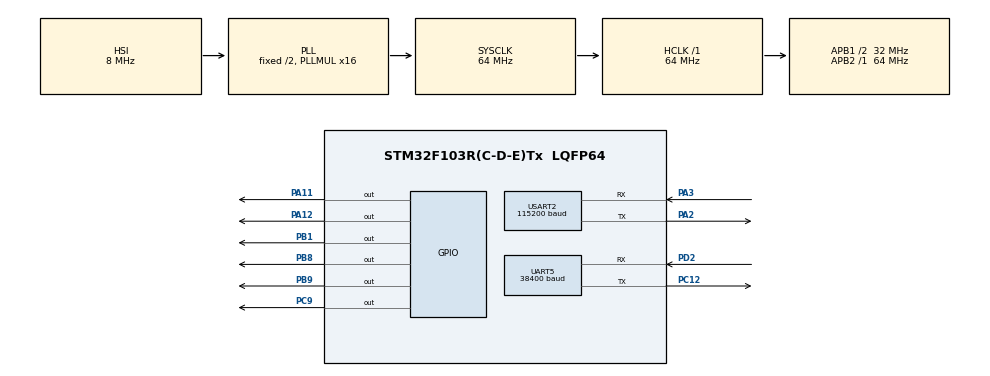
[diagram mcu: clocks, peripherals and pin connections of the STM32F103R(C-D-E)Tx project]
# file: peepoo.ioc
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Dma.Request0=USART2_RX
Dma.USART2_RX.0.Direction=DMA_PERIPH_TO_MEMORY
Dma.USART2_RX.0.Instance=DMA1_Channel6
Dma.USART2_RX.0.MemDataAlignment=DMA_MDATAALIGN_BYTE
Dma.USART2_RX.0.MemInc=DMA_MINC_ENABLE
Dma.USART2_RX.0.Mode=DMA_NORMAL
Dma.USART2_RX.0.PeriphDataAlignment=DMA_PDATAALIGN_BYTE
Dma.USART2_RX.0.PeriphInc=DMA_PINC_DISABLE
Dma.USART2_RX.0.Priority=DMA_PRIORITY_LOW
Mcu.Family=STM32F1
Mcu.Name=STM32F103R(C-D-E)Tx
Mcu.Package=LQFP64
NVIC.DMA1_Channel6_IRQn=true\:12\:0\:true\:false\:true\:false\:true\:true
NVIC.PriorityGroup=NVIC_PRIORITYGROUP_4
NVIC.TIM2_IRQn=true\:14\:0\:true\:false\:true\:true\:true\:true
NVIC.TIM3_IRQn=true\:15\:0\:true\:false\:true\:false\:true\:true
NVIC.TimeBase=TIM3_IRQn
NVIC.TimeBaseIP=TIM3
NVIC.UART5_IRQn=true\:0\:0\:true\:false\:true\:true\:true\:true
NVIC.USART2_IRQn=true\:3\:0\:true\:false\:true\:true\:true\:true
PA10.Signal=USART1_RX
PA11.GPIO_Speed=GPIO_SPEED_FREQ_LOW
PA11.Signal=GPIO_Output
PA12.GPIO_Speed=GPIO_SPEED_FREQ_LOW
PA12.Signal=GPIO_Output
PA13.Mode=Serial_Wire
PA13.Signal=SYS_JTMS-SWDIO
PA14.Mode=Serial_Wire
PA14.Signal=SYS_JTCK-SWCLK
PA2.Mode=Asynchronous
PA2.Signal=USART2_TX
PA3.Mode=Asynchronous
PA3.Signal=USART2_RX
PB1.GPIO_Speed=GPIO_SPEED_FREQ_LOW
PB1.Signal=GPIO_Output
PB8.Signal=GPIO_Output
PB9.PinState=GPIO_PIN_RESET
PB9.Signal=GPIO_Output
PC12.Mode=Asynchronous
PC12.Signal=UART5_TX
PC9.GPIO_Speed=GPIO_SPEED_FREQ_LOW
PC9.Signal=GPIO_Output
PD2.Mode=Asynchronous
PD2.Signal=UART5_RX
ProjectManager.HeapSize=0x200
ProjectManager.StackSize=0x400
ProjectManager.TargetToolchain=MDK-ARM V5.32
RCC.AHBFreq_Value=64000000
RCC.APB1CLKDivider=RCC_HCLK_DIV2
RCC.APB1Freq_Value=32000000
RCC.APB1TimFreq_Value=64000000
RCC.APB2Freq_Value=64000000
RCC.APB2TimFreq_Value=64000000
RCC.HCLKFreq_Value=64000000
RCC.PLLMUL=RCC_PLL_MUL16
RCC.SYSCLKFreq_VALUE=64000000
RCC.SYSCLKSource=RCC_SYSCLKSOURCE_PLLCLK
RCC.USBFreq_Value=64000000
RTC.Format=RTC_FORMAT_BIN
TIM1.Prescaler=63
TIM2.AutoReloadPreload=TIM_AUTORELOAD_PRELOAD_ENABLE
TIM2.Period=3333
TIM2.Prescaler=6399
TIM2.TIM_MasterOutputTrigger=TIM_TRGO_RESET
TIM2.TIM_MasterSlaveMode=TIM_MASTERSLAVEMODE_DISABLE
UART5.BaudRate=38400
UART5.VirtualMode=Asynchronous
USART2.BaudRate=115200
USART2.VirtualMode=VM_ASYNC
VP_RTC_VS_RTC_Activate.Mode=RTC_Enabled
VP_RTC_VS_RTC_Calendar.Mode=RTC_Calendar
VP_SYS_VS_tim3.Mode=TIM3
VP_TIM1_VS_ClockSourceINT.Mode=Internal
VP_TIM2_VS_ClockSourceINT.Mode=Internal
board=custom

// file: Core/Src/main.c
/* USER CODE BEGIN Header */
/**
  ******************************************************************************
  * @file           : main.c
  * @brief          : Main program body
  ******************************************************************************
  * @attention
  *
  * Copyright (c) 2023 STMicroelectronics.
  * All rights reserved.
  *
  * This software is licensed under terms that can be found in the LICENSE file
  * in the root directory of this software component.
  * If no LICENSE file comes with this software, it is provided AS-IS.
  *
  ******************************************************************************
  */
/* USER CODE END Header */
#include "main.h"
#include "dma.h"
#include "rtc.h"
#include "tim.h"
#include "usart.h"
#include "gpio.h"

/* USER CODE BEGIN Includes */
//#include "utils.h"
#include "lcd12864serial.h"
#include <stdio.h>
//#include <regex.h>
#include "stdlib.h"
#include "string.h"
#include "drf1605h.h"
#include "sender.h"
/* USER CODE END Includes */

/* USER CODE BEGIN PTD */
extern u32 tim2_count;
extern DMA_HandleTypeDef hdma_usart2_rx;
/* USER CODE END PTD */

void SystemClock_Config(void);

/* USER CODE BEGIN 0 */

u8 currentdevice_index = 0;
/* USER CODE END 0 */

int main(void)
{

  /* MCU Configuration--------------------------------------------------------*/

  /* Reset of all peripherals, Initializes the Flash interface and the Systick. */
  HAL_Init();

  /* Configure the system clock */
  SystemClock_Config();

  /* Initialize all configured peripherals */
  MX_GPIO_Init();
  MX_DMA_Init();
  MX_USART2_UART_Init();
  MX_RTC_Init();
  MX_TIM1_Init();
  MX_UART5_Init();
  MX_TIM2_Init();
  /* USER CODE BEGIN 2 */

  u8 i = 0;
  for(i=0; i<TOTAL_DEVICE; i++)
  {
    ZigbeeDevice d = {.id = i + 1,.addr = 0xFFFF,.is_online = false,.ask_time = 0,.last_response_time= 0 };
    devices[i] = d;
  }

  HAL_TIM_Base_Start(&htim1);
  //HAL_TIM_Base_Start(&htim2);
  HAL_TIM_Base_Start_IT(&htim2);
  Lcd_Init();
  //HAL_UART_Transmit(&huart2,"hello",5,0xFFFF);
  HAL_UARTEx_ReceiveToIdle_DMA(&huart2, RxBuf, RxBuf_SIZE);
  __HAL_DMA_DISABLE_IT(&hdma_usart2_rx, DMA_IT_HT);

  /* USER CODE END 2 */

  /* Infinite loop */
  /* USER CODE BEGIN WHILE */
  bool is_ok = check_connection_ok();
  if (is_ok)
  {
    //led_signal();
    LCD_Display_Words(0,0,(uint8_t*)"okok");
  }
  else {
    LCD_Display_Words(0,0,(uint8_t*)"sad");
    Error_Handler();
  }
  HAL_UARTEx_ReceiveToIdle_IT(&huart5,rxbuffer_uart5,RxBuf_SIZE_uart5);
  uint8_t current_time[10];
  u32 last_tim2_count_to_refresh = tim2_count;
  u32 last_tim2_count_to_send_zigbee = tim2_count;
  while (1)
  {
    if (uart_idle_data_prepared)
    {
      uart_idle_data_prepared = false;
      int len = strlen((char *)(MainBuf + oldPos));
      parse_command((uint8_t *)(MainBuf + oldPos),len);
    }
    if (tim2_count - last_tim2_count_to_refresh > 20)
    {
      Lcd_Init();
      u8 online = get_online_count();
      char count[] = "online:0 devices";
      sprintf((char *)count,"online:%d devices",online);
      LCD_Display_Words(0,0,(u8 *)count);
      last_tim2_count_to_refresh = tim2_count;
    }
    if (is_uart5_idle)
    {
      is_uart5_idle = false;
      int len = strlen((char*)MainBuf_uart5);
      HAL_UART_Transmit(&huart2,(uint8_t *)(MainBuf_uart5),last_size_uart5,0xFFFF);
      u8 id = parse_data_from_device(MainBuf_uart5,last_size_uart5);
			filter_offline();
    }
    if (tim2_count - last_tim2_count_to_send_zigbee > 15)
    {
      int group_id = currentdevice_index + 1;
      char sent[50];
      RTC_TimeTypeDef sTime = {0};
      HAL_RTC_GetTime(&hrtc,&sTime,RTC_FORMAT_BIN);
      sprintf((char *)sent,"[id:%dz,time:%02d:%02d:%02d]",group_id,sTime.Hours,sTime.Minutes,sTime.Seconds);

      filter_offline(); //把超时的设备设为离线
      if (devices[currentdevice_index].is_online && (devices[currentdevice_index].addr < 0xFF00))
      {
        send_to_p2p(currentdevice_index,(u8 *)sent,strlen(sent));
      }
      else
      {
        transparent_send((u8 *)sent,strlen(sent));
      }
      HAL_GPIO_TogglePin(GPIOB,GPIO_PIN_8);
      devices[currentdevice_index].ask_time = RTC_ReadTimeCounter(&hrtc);
      currentdevice_index++;
      if (currentdevice_index >= TOTAL_DEVICE)
      {
        currentdevice_index = 0;
      }
      last_tim2_count_to_send_zigbee = tim2_count;
    }
    HAL_Delay(5);
    /* USER CODE END WHILE */

  }
}

void SystemClock_Config(void)
{
  RCC_OscInitTypeDef RCC_OscInitStruct = {0};
  RCC_ClkInitTypeDef RCC_ClkInitStruct = {0};
  RCC_PeriphCLKInitTypeDef PeriphClkInit = {0};

  /** Initializes the RCC Oscillators according to the specified parameters
  * in the RCC_OscInitTypeDef structure.
  */
  RCC_OscInitStruct.OscillatorType = RCC_OSCILLATORTYPE_HSI|RCC_OSCILLATORTYPE_LSI;
  RCC_OscInitStruct.HSIState = RCC_HSI_ON;
  RCC_OscInitStruct.HSICalibrationValue = RCC_HSICALIBRATION_DEFAULT;
  RCC_OscInitStruct.LSIState = RCC_LSI_ON;
  RCC_OscInitStruct.PLL.PLLState = RCC_PLL_ON;
  RCC_OscInitStruct.PLL.PLLSource = RCC_PLLSOURCE_HSI_DIV2;
  RCC_OscInitStruct.PLL.PLLMUL = RCC_PLL_MUL16;
  if (HAL_RCC_OscConfig(&RCC_OscInitStruct) != HAL_OK)
  {
    Error_Handler();
  }

  /** Initializes the CPU, AHB and APB buses clocks
  */
  RCC_ClkInitStruct.ClockType = RCC_CLOCKTYPE_HCLK|RCC_CLOCKTYPE_SYSCLK
                              |RCC_CLOCKTYPE_PCLK1|RCC_CLOCKTYPE_PCLK2;
  RCC_ClkInitStruct.SYSCLKSource = RCC_SYSCLKSOURCE_PLLCLK;
  RCC_ClkInitStruct.AHBCLKDivider = RCC_SYSCLK_DIV1;
  RCC_ClkInitStruct.APB1CLKDivider = RCC_HCLK_DIV2;
  RCC_ClkInitStruct.APB2CLKDivider = RCC_HCLK_DIV1;

  if (HAL_RCC_ClockConfig(&RCC_ClkInitStruct, FLASH_LATENCY_2) != HAL_OK)
  {
    Error_Handler();
  }
  PeriphClkInit.PeriphClockSelection = RCC_PERIPHCLK_RTC;
  PeriphClkInit.RTCClockSelection = RCC_RTCCLKSOURCE_LSI;
  if (HAL_RCCEx_PeriphCLKConfig(&PeriphClkInit) != HAL_OK)
  {
    Error_Handler();
  }
}

void HAL_TIM_PeriodElapsedCallback(TIM_HandleTypeDef *htim)
{
  if (htim->Instance == TIM3) {
    HAL_IncTick();
  }
}

void Error_Handler(void)
{
  /* USER CODE BEGIN Error_Handler_Debug */
  /* User can add his own implementation to report the HAL error return state */
  __disable_irq();
  while (1)
  {
    HAL_Delay(200);
    HAL_GPIO_TogglePin(GPIOB,GPIO_PIN_8);
  }
  /* USER CODE END Error_Handler_Debug */
}
